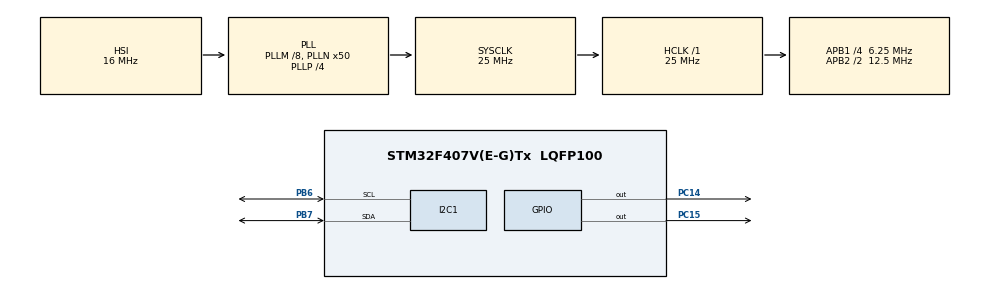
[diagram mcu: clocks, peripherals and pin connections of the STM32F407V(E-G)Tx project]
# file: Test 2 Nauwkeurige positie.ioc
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Mcu.Family=STM32F4
Mcu.Name=STM32F407V(E-G)Tx
Mcu.Package=LQFP100
NVIC.PriorityGroup=NVIC_PRIORITYGROUP_0
PB6.Mode=I2C
PB6.Signal=I2C1_SCL
PB7.Mode=I2C
PB7.Signal=I2C1_SDA
PC14-OSC32_IN.Signal=GPIO_Output
PC15-OSC32_OUT.Signal=GPIO_Output
ProjectManager.HeapSize=0x200
ProjectManager.StackSize=0x400
ProjectManager.TargetToolchain=STM32CubeIDE
RCC.48MHZClocksFreq_Value=14285714.285714285
RCC.AHBFreq_Value=25000000
RCC.APB1CLKDivider=RCC_HCLK_DIV4
RCC.APB1Freq_Value=6250000
RCC.APB1TimFreq_Value=12500000
RCC.APB2CLKDivider=RCC_HCLK_DIV2
RCC.APB2Freq_Value=12500000
RCC.APB2TimFreq_Value=25000000
RCC.CortexFreq_Value=25000000
RCC.HCLKFreq_Value=25000000
RCC.HSE_VALUE=8000000
RCC.HSI_VALUE=16000000
RCC.LSE_VALUE=32768
RCC.PLLM=8
RCC.PLLN=50
RCC.PLLP=RCC_PLLP_DIV4
RCC.PLLQ=7
RCC.SYSCLKFreq_VALUE=25000000
RCC.SYSCLKSource=RCC_SYSCLKSOURCE_PLLCLK
RCC.VCOOutputFreq_Value=100000000
board=STM32F407G-DISC1

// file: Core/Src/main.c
/* USER CODE BEGIN Header */
/**
  ******************************************************************************
  * @file           : main.c
  * @brief          : Main program body
  ******************************************************************************
  * @attention
  *
  * Copyright (c) 2024 STMicroelectronics.
  * All rights reserved.
  *
  * This software is licensed under terms that can be found in the LICENSE file
  * in the root directory of this software component.
  * If no LICENSE file comes with this software, it is provided AS-IS.
  *
  ******************************************************************************
  */
/* USER CODE END Header */
#include "main.h"

/* USER CODE BEGIN PD */
#define TCA9543A_ADDR 0x70 // TCA9543A I2C-adres
#define ADS1115_BASE_ADDR 0x48 // Basisadres voor ADS1115

#define MOTOR_LEFT_PIN GPIO_PIN_15
#define MOTOR_RIGHT_PIN GPIO_PIN_14
#define MOTOR_GPIO_PORT GPIOC
/* USER CODE END PD */

I2C_HandleTypeDef hi2c1;

void SystemClock_Config(void);
static void MX_GPIO_Init(void);
static void MX_I2C1_Init(void);
/* USER CODE BEGIN PFP */
uint16_t results[24];
float current_position = 0.0;
float current_percentage = 0.0;
/* USER CODE END PFP */

/* USER CODE BEGIN 0 */
void selectI2CChannel(uint8_t channel) {
    uint8_t config = 1 << channel;
    HAL_I2C_Master_Transmit(&hi2c1, TCA9543A_ADDR << 1, &config, 1, HAL_MAX_DELAY);
}

uint16_t readADS1115(uint8_t addr, uint8_t channel) {
    uint8_t config[3];
    uint8_t data[2];

    // Config register to single-shot mode, selecting the correct channel
    config[0] = 0x01; // Config register

    // Configuration settings: Single-shot mode, FSR ±6.144V, 128SPS
    // Different AINx for different channels
    switch(channel) {
        case 0: config[1] = 0xC3; break; // AIN0
        case 1: config[1] = 0xD3; break; // AIN1
        case 2: config[1] = 0xE3; break; // AIN2
        case 3: config[1] = 0xF3; break; // AIN3
    }

    config[2] = 0x83; // LSB: Disable comparator

    HAL_I2C_Master_Transmit(&hi2c1, addr << 1, config, 3, HAL_MAX_DELAY);

    // Wait for the conversion to complete
    HAL_Delay(8); // ADS1115 max conversion time is 8ms

    // Read conversion result
    uint8_t reg = 0x00; // Conversion register
    HAL_I2C_Master_Transmit(&hi2c1, addr << 1, &reg, 1, HAL_MAX_DELAY);
    HAL_I2C_Master_Receive(&hi2c1, addr << 1, data, 2, HAL_MAX_DELAY);

    uint16_t result = (data[0] << 8) | data[1];
    return result;
}

float adc_to_percentage(uint32_t adc_value) {
    // Bereken de overeenkomstige spanning (16-bit ADC en 4.096V referentie)
    float voltage = (adc_value / 32767.0) * 4.096;

    // Lineaire conversie van spanning naar percentage
    // Spanningsbereik 0.95V tot 4.00V komt overeen met 0% tot 100%
    float percentage = (voltage - 0.95) / (4.00 - 0.95) * 100.0;

    // Beperk percentage tussen 0% en 100%
    if (percentage < 0) percentage = 0;
    if (percentage > 100) percentage = 100;

    return percentage;
}

void set_motor_position(float desired_percentage, float current_percentage) {
    // Tolerantie in percentage
    float tolerance = 3.0;

    if (desired_percentage > (current_percentage + tolerance)) {
        // Draai naar rechts
        HAL_GPIO_WritePin(MOTOR_GPIO_PORT, MOTOR_RIGHT_PIN, GPIO_PIN_SET);
        HAL_GPIO_WritePin(MOTOR_GPIO_PORT, MOTOR_LEFT_PIN, GPIO_PIN_RESET);
    } else if (desired_percentage < (current_percentage - tolerance)) {
        // Draai naar links
        HAL_GPIO_WritePin(MOTOR_GPIO_PORT, MOTOR_LEFT_PIN, GPIO_PIN_SET);
        HAL_GPIO_WritePin(MOTOR_GPIO_PORT, MOTOR_RIGHT_PIN, GPIO_PIN_RESET);
    } else {
        // Stop de motor
        HAL_GPIO_WritePin(MOTOR_GPIO_PORT, MOTOR_LEFT_PIN, GPIO_PIN_RESET);
        HAL_GPIO_WritePin(MOTOR_GPIO_PORT, MOTOR_RIGHT_PIN, GPIO_PIN_RESET);
    }
}
/* USER CODE END 0 */

int main(void)
{

  /* MCU Configuration--------------------------------------------------------*/

  /* Reset of all peripherals, Initializes the Flash interface and the Systick. */
  HAL_Init();

  /* Configure the system clock */
  SystemClock_Config();

  /* Initialize all configured peripherals */
  MX_GPIO_Init();
  MX_I2C1_Init();
  /* USER CODE BEGIN 2 */
  float desired_position = 25.0;
  /* USER CODE END 2 */

  /* Infinite loop */
  /* USER CODE BEGIN WHILE */
  while (1)
  {
	  for (uint8_t channel = 0; channel < 2; channel++) {
		  selectI2CChannel(channel);
		  uint8_t ads_addresses[3] = {0x4A, 0x49, 0x48}; // ADDR: SDA, 5V, GND
		  for (uint8_t i = 0; i < 3; i++) {
			  uint8_t addr = ads_addresses[i];
			  for (uint8_t j = 0; j < 4; j++) {
				  uint16_t result = readADS1115(addr, j); // Pas de readADS1115 aan om het kanaal door te geven
				  results[channel * 12 + i * 4 + j] = result;
				  HAL_Delay(100); // Eventueel wat vertraging om het uitlezen stabiel te houden
	                  }
	              }
	  	  	  }
	  uint32_t adc_value = results[20];
	  current_position = adc_to_percentage(adc_value);
	  set_motor_position(desired_position, current_position);
	  HAL_Delay(100);
    /* USER CODE END WHILE */

  }
}

void SystemClock_Config(void)
{
  RCC_OscInitTypeDef RCC_OscInitStruct = {0};
  RCC_ClkInitTypeDef RCC_ClkInitStruct = {0};

  /** Configure the main internal regulator output voltage
  */
  __HAL_RCC_PWR_CLK_ENABLE();
  __HAL_PWR_VOLTAGESCALING_CONFIG(PWR_REGULATOR_VOLTAGE_SCALE1);

  /** Initializes the RCC Oscillators according to the specified parameters
  * in the RCC_OscInitTypeDef structure.
  */
  RCC_OscInitStruct.OscillatorType = RCC_OSCILLATORTYPE_HSI;
  RCC_OscInitStruct.HSIState = RCC_HSI_ON;
  RCC_OscInitStruct.HSICalibrationValue = RCC_HSICALIBRATION_DEFAULT;
  RCC_OscInitStruct.PLL.PLLState = RCC_PLL_ON;
  RCC_OscInitStruct.PLL.PLLSource = RCC_PLLSOURCE_HSI;
  RCC_OscInitStruct.PLL.PLLM = 8;
  RCC_OscInitStruct.PLL.PLLN = 50;
  RCC_OscInitStruct.PLL.PLLP = RCC_PLLP_DIV4;
  RCC_OscInitStruct.PLL.PLLQ = 7;
  if (HAL_RCC_OscConfig(&RCC_OscInitStruct) != HAL_OK)
  {
    Error_Handler();
  }

  /** Initializes the CPU, AHB and APB buses clocks
  */
  RCC_ClkInitStruct.ClockType = RCC_CLOCKTYPE_HCLK|RCC_CLOCKTYPE_SYSCLK
                              |RCC_CLOCKTYPE_PCLK1|RCC_CLOCKTYPE_PCLK2;
  RCC_ClkInitStruct.SYSCLKSource = RCC_SYSCLKSOURCE_PLLCLK;
  RCC_ClkInitStruct.AHBCLKDivider = RCC_SYSCLK_DIV1;
  RCC_ClkInitStruct.APB1CLKDivider = RCC_HCLK_DIV4;
  RCC_ClkInitStruct.APB2CLKDivider = RCC_HCLK_DIV2;

  if (HAL_RCC_ClockConfig(&RCC_ClkInitStruct, FLASH_LATENCY_0) != HAL_OK)
  {
    Error_Handler();
  }
}

static void MX_I2C1_Init(void)
{

  hi2c1.Instance = I2C1;
  hi2c1.Init.ClockSpeed = 100000;
  hi2c1.Init.DutyCycle = I2C_DUTYCYCLE_2;
  hi2c1.Init.OwnAddress1 = 0;
  hi2c1.Init.AddressingMode = I2C_ADDRESSINGMODE_7BIT;
  hi2c1.Init.DualAddressMode = I2C_DUALADDRESS_DISABLE;
  hi2c1.Init.OwnAddress2 = 0;
  hi2c1.Init.GeneralCallMode = I2C_GENERALCALL_DISABLE;
  hi2c1.Init.NoStretchMode = I2C_NOSTRETCH_DISABLE;
  if (HAL_I2C_Init(&hi2c1) != HAL_OK)
  {
    Error_Handler();
  }

}

static void MX_GPIO_Init(void)
{
  GPIO_InitTypeDef GPIO_InitStruct = {0};

  /* GPIO Ports Clock Enable */
  __HAL_RCC_GPIOC_CLK_ENABLE();
  __HAL_RCC_GPIOB_CLK_ENABLE();

  /*Configure GPIO pin Output Level */
  HAL_GPIO_WritePin(GPIOC, GPIO_PIN_14|GPIO_PIN_15, GPIO_PIN_RESET);

  /*Configure GPIO pins : PC14 PC15 */
  GPIO_InitStruct.Pin = GPIO_PIN_14|GPIO_PIN_15;
  GPIO_InitStruct.Mode = GPIO_MODE_OUTPUT_PP;
  GPIO_InitStruct.Pull = GPIO_NOPULL;
  GPIO_InitStruct.Speed = GPIO_SPEED_FREQ_LOW;
  HAL_GPIO_Init(GPIOC, &GPIO_InitStruct);

}

void Error_Handler(void)
{
  __disable_irq();
  while (1)
  {
  }
}
